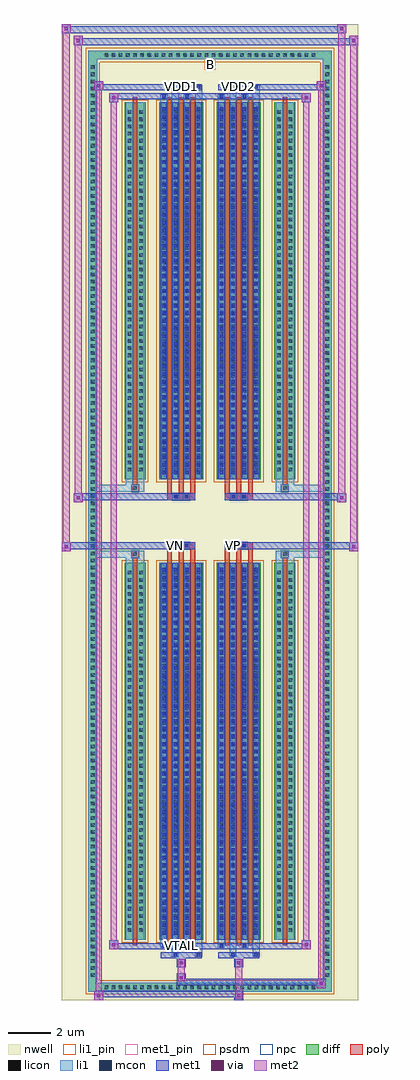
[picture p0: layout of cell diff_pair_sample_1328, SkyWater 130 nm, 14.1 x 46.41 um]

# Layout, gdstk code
import gdstk
lib = gdstk.Library(unit=1e-6, precision=5e-09)
def R(c, l, rs):  # rectangles x0, y0, x1, y1
    for r in rs: c.add(gdstk.rectangle(r[:2], r[2:], *l))
def A(c, l, x, y, w, h, nx, ny, dx, dy):  # array of equal rectangles
    R(c, l, [(x+i*dx, y+j*dy, x+i*dx+w, y+j*dy+h) for i in range(nx) for j in range(ny)])
def P(c, l, *ps):  # polygons
    for p in ps: c.add(gdstk.Polygon(p, *l))
nwell = (64, 20)
diff = (65, 20)
poly = (66, 20)
licon = (66, 44)
li1_pin = (67, 16)
li1 = (67, 20)
mcon = (67, 44)
met1_pin = (68, 16)
met1 = (68, 20)
via = (68, 44)
met2 = (69, 20)
psdm = (94, 20)
npc = (95, 20)

diff_pair_sample_1328 = lib.new_cell('diff_pair_sample_1328')
R(diff_pair_sample_1328, nwell, [(-7.05,-22.77,7.05,23.64), (-4.37,-20.96,-0.01,-0.8), (0.01,-20.96,4.37,-0.8), (-4.37,0.8,-0.01,20.96), (0.01,0.8,4.37,20.96)])
A(diff_pair_sample_1328, diff, -5.135, -22.37, 0.41, 0.41, 30, 2, 0.34, 44.33)
A(diff_pair_sample_1328, diff, -5.78, -21.795, 0.41, 0.41, 1, 128, 0, 0.34)
A(diff_pair_sample_1328, diff, 5.37, -21.795, 0.41, 0.41, 1, 128, 0, 0.34)
R(diff_pair_sample_1328, diff, [(-5.135,-22.37,5.135,-21.96), (-5.78,-21.795,-5.37,21.795), (5.37,-21.795,5.78,21.795), (-4.06,-19.915,-3.06,-1.985), (-2.42,-19.915,-0.32,-1.985), (0.32,-19.915,2.42,-1.985), (3.06,-19.915,4.06,-1.985), (-4.06,1.985,-3.06,19.915), (-2.42,1.985,-0.32,19.915), (0.32,1.985,2.42,19.915), (3.06,1.985,4.06,19.915), (-5.135,21.96,5.135,22.37)])
P(diff_pair_sample_1328, diff, [(5.78,22.37),(-5.78,22.37),(-5.78,-21.96),(-5.37,-21.96),(-5.37,21.96),(5.37,21.96),(5.37,-21.96),(-5.37,-21.96),(-5.78,-21.96),(-5.78,-22.37),(5.78,-22.37)])
A(diff_pair_sample_1328, poly, -2.03, -20.165, 0.22, 18.43, 3, 2, 0.55, 21.9)
A(diff_pair_sample_1328, poly, 0.71, -20.165, 0.22, 18.43, 3, 2, 0.55, 21.9)
A(diff_pair_sample_1328, poly, -2.03, -1.735, 0.22, 0.405, 3, 2, 0.55, 3.065)
A(diff_pair_sample_1328, poly, 0.71, -1.735, 0.22, 0.405, 3, 2, 0.55, 3.065)
R(diff_pair_sample_1328, poly, [(-3.67,-20.165,-3.45,-1.735), (3.45,-20.165,3.67,-1.735), (-3.725,-1.735,-3.395,-1.405), (-3.725,-1.735,-3.395,-1.405), (3.395,-1.735,3.725,-1.405), (3.395,-1.735,3.725,-1.405), (-2.03,-1.33,-0.71,-1), (-1.785,-1.33,-1.455,-1), (-1.285,-1.33,-0.955,-1), (0.71,-1.33,2.03,-1), (0.955,-1.33,1.285,-1), (1.455,-1.33,1.785,-1), (-2.03,1,-0.71,1.33), (-1.785,1,-1.455,1.33), (-1.285,1,-0.955,1.33), (0.71,1,2.03,1.33), (0.955,1,1.285,1.33), (1.455,1,1.785,1.33), (-3.725,1.405,-3.395,1.735), (-3.725,1.405,-3.395,1.735), (3.395,1.405,3.725,1.735), (3.395,1.405,3.725,1.735), (-3.67,1.735,-3.45,20.165), (3.45,1.735,3.67,20.165)])
A(diff_pair_sample_1328, licon, -5.015, -22.25, 0.17, 0.17, 30, 2, 0.34, 44.33)
A(diff_pair_sample_1328, licon, -5.66, -21.675, 0.17, 0.17, 1, 128, 0, 0.34)
A(diff_pair_sample_1328, licon, 5.49, -21.675, 0.17, 0.17, 1, 128, 0, 0.34)
A(diff_pair_sample_1328, licon, -3.92, -19.535, 0.17, 0.17, 1, 51, 0, 0.34)
A(diff_pair_sample_1328, licon, -3.37, -19.535, 0.17, 0.17, 1, 51, 0, 0.34)
A(diff_pair_sample_1328, licon, -2.28, -19.535, 0.17, 0.17, 4, 51, 0.55, 0.34)
A(diff_pair_sample_1328, licon, 0.46, -19.535, 0.17, 0.17, 4, 51, 0.55, 0.34)
A(diff_pair_sample_1328, licon, 3.2, -19.535, 0.17, 0.17, 1, 51, 0, 0.34)
A(diff_pair_sample_1328, licon, 3.75, -19.535, 0.17, 0.17, 1, 51, 0, 0.34)
A(diff_pair_sample_1328, licon, -3.92, 2.365, 0.17, 0.17, 1, 51, 0, 0.34)
A(diff_pair_sample_1328, licon, -3.37, 2.365, 0.17, 0.17, 1, 51, 0, 0.34)
A(diff_pair_sample_1328, licon, -2.28, 2.365, 0.17, 0.17, 4, 51, 0.55, 0.34)
A(diff_pair_sample_1328, licon, 0.46, 2.365, 0.17, 0.17, 4, 51, 0.55, 0.34)
A(diff_pair_sample_1328, licon, 3.2, 2.365, 0.17, 0.17, 1, 51, 0, 0.34)
A(diff_pair_sample_1328, licon, 3.75, 2.365, 0.17, 0.17, 1, 51, 0, 0.34)
R(diff_pair_sample_1328, licon, [(-3.645,-1.655,-3.475,-1.485), (3.475,-1.655,3.645,-1.485), (-1.705,-1.25,-1.535,-1.08), (-1.205,-1.25,-1.035,-1.08), (1.035,-1.25,1.205,-1.08), (1.535,-1.25,1.705,-1.08), (-1.705,1.08,-1.535,1.25), (-1.205,1.08,-1.035,1.25), (1.035,1.08,1.205,1.25), (1.535,1.08,1.705,1.25), (-3.645,1.485,-3.475,1.655), (3.475,1.485,3.645,1.655)])
R(diff_pair_sample_1328, li1_pin, [(-0.25,21.46,0.25,21.96)])
A(diff_pair_sample_1328, li1, -5.095, -22.33, 0.33, 0.33, 30, 2, 0.34, 44.33)
A(diff_pair_sample_1328, li1, -5.74, -21.755, 0.33, 0.33, 1, 128, 0, 0.34)
A(diff_pair_sample_1328, li1, 5.41, -21.755, 0.33, 0.33, 1, 128, 0, 0.34)
A(diff_pair_sample_1328, li1, -2.36, -19.915, 0.33, 17.93, 4, 2, 0.55, 21.9)
A(diff_pair_sample_1328, li1, 0.38, -19.915, 0.33, 17.93, 4, 2, 0.55, 21.9)
A(diff_pair_sample_1328, li1, -2.28, -19.675, 0.17, 0.17, 4, 49, 0.55, 0.36)
A(diff_pair_sample_1328, li1, -2.28, -19.675, 0.17, 17.45, 4, 2, 0.55, 21.9)
A(diff_pair_sample_1328, li1, 0.46, -19.675, 0.17, 0.17, 4, 49, 0.55, 0.36)
A(diff_pair_sample_1328, li1, 0.46, -19.675, 0.17, 17.45, 4, 2, 0.55, 21.9)
A(diff_pair_sample_1328, li1, -4, -19.615, 0.33, 0.33, 1, 51, 0, 0.34)
A(diff_pair_sample_1328, li1, -3.45, -19.615, 0.33, 0.33, 1, 51, 0, 0.34)
A(diff_pair_sample_1328, li1, -2.36, -19.615, 0.33, 0.33, 4, 51, 0.55, 0.34)
A(diff_pair_sample_1328, li1, 0.38, -19.615, 0.33, 0.33, 4, 51, 0.55, 0.34)
A(diff_pair_sample_1328, li1, 3.12, -19.615, 0.33, 0.33, 1, 51, 0, 0.34)
A(diff_pair_sample_1328, li1, 3.67, -19.615, 0.33, 0.33, 1, 51, 0, 0.34)
A(diff_pair_sample_1328, li1, -2.28, 2.225, 0.17, 0.17, 4, 49, 0.55, 0.36)
A(diff_pair_sample_1328, li1, 0.46, 2.225, 0.17, 0.17, 4, 49, 0.55, 0.36)
A(diff_pair_sample_1328, li1, -4, 2.285, 0.33, 0.33, 1, 51, 0, 0.34)
A(diff_pair_sample_1328, li1, -3.45, 2.285, 0.33, 0.33, 1, 51, 0, 0.34)
A(diff_pair_sample_1328, li1, -2.36, 2.285, 0.33, 0.33, 4, 51, 0.55, 0.34)
A(diff_pair_sample_1328, li1, 0.38, 2.285, 0.33, 0.33, 4, 51, 0.55, 0.34)
A(diff_pair_sample_1328, li1, 3.12, 2.285, 0.33, 0.33, 1, 51, 0, 0.34)
A(diff_pair_sample_1328, li1, 3.67, 2.285, 0.33, 0.33, 1, 51, 0, 0.34)
R(diff_pair_sample_1328, li1, [(-5.78,-22.37,-5.37,-21.96), (-5.78,-22.37,-5.37,-21.96), (-5.37,-22.37,5.37,-21.96), (5.37,-22.37,5.78,-21.96), (5.37,-22.37,5.78,-21.96), (-5.78,-21.96,-5.37,21.96), (5.37,-21.96,5.78,21.96), (-1.81,-20.72,-1.48,-19.915), (-1.73,-20.72,-1.56,-20.55), (-0.71,-20.72,-0.38,-19.915), (-0.63,-20.72,-0.46,-20.55), (0.93,-20.72,1.26,-19.915), (1.01,-20.72,1.18,-20.55), (2.03,-20.72,2.36,-19.915), (2.11,-20.72,2.28,-20.55), (-2.36,-20.29,-2.03,-19.915), (-2.28,-20.29,-2.11,-20.12), (-1.26,-20.29,-0.93,-19.915), (-1.18,-20.29,-1.01,-20.12), (0.38,-20.29,0.71,-19.915), (0.46,-20.29,0.63,-20.12), (1.48,-20.29,1.81,-19.915), (1.56,-20.29,1.73,-20.12), (-4,-19.915,-3.67,-1.985), (-3.45,-19.915,-3.12,-1.985), (3.12,-19.915,3.45,-1.985), (3.67,-19.915,4,-1.985), (-4,-1.985,-3.67,-1.405), (-3.45,-1.985,-3.12,-1.405), (3.12,-1.985,3.45,-1.405), (3.67,-1.985,4,-1.405), (-5.78,-1.735,-3.725,-1.405), (-4,-1.735,-3.725,-1.405), (-3.725,-1.735,-3.395,-1.405), (-3.395,-1.735,-3.12,-1.405), (3.12,-1.735,3.395,-1.405), (3.395,-1.735,3.725,-1.405), (3.395,-1.735,5.78,-1.405), (3.725,-1.735,4,-1.405), (-1.785,-1.33,-1.455,-1), (-1.285,-1.33,-0.955,-1), (0.955,-1.33,1.285,-1), (1.455,-1.33,1.785,-1), (-1.785,1,-1.455,1.33), (-1.285,1,-0.955,1.33), (0.955,1,1.285,1.33), (1.455,1,1.785,1.33), (-5.78,1.405,-3.725,1.735), (-4,1.405,-3.725,1.735), (-4,1.405,-3.67,1.985), (-3.725,1.405,-3.395,1.735), (-3.45,1.405,-3.12,1.985), (-3.395,1.405,-3.12,1.735), (3.12,1.405,3.395,1.735), (3.12,1.405,3.45,1.985), (3.395,1.405,3.725,1.735), (3.395,1.405,5.78,1.735), (3.67,1.405,4,1.985), (3.725,1.405,4,1.735), (-4,1.985,-3.67,19.915), (-3.45,1.985,-3.12,19.915), (3.12,1.985,3.45,19.915), (3.67,1.985,4,19.915), (-2.36,19.915,-2.03,20.29), (-1.81,19.915,-1.48,20.72), (-1.26,19.915,-0.93,20.29), (-0.71,19.915,-0.38,20.72), (0.38,19.915,0.71,20.29), (0.93,19.915,1.26,20.72), (1.48,19.915,1.81,20.29), (2.03,19.915,2.36,20.72), (-2.28,20.12,-2.11,20.29), (-1.18,20.12,-1.01,20.29), (0.46,20.12,0.63,20.29), (1.56,20.12,1.73,20.29), (-1.73,20.55,-1.56,20.72), (-0.63,20.55,-0.46,20.72), (1.01,20.55,1.18,20.72), (2.11,20.55,2.28,20.72), (-5.78,21.96,-5.37,22.37), (-5.78,21.96,-5.37,22.37), (-5.37,21.96,5.37,22.37), (5.37,21.96,5.78,22.37), (5.37,21.96,5.78,22.37)])
A(diff_pair_sample_1328, mcon, -2.28, -19.675, 0.17, 0.17, 4, 49, 0.55, 0.36)
A(diff_pair_sample_1328, mcon, 0.46, -19.675, 0.17, 0.17, 4, 49, 0.55, 0.36)
A(diff_pair_sample_1328, mcon, -2.28, 2.225, 0.17, 0.17, 4, 49, 0.55, 0.36)
A(diff_pair_sample_1328, mcon, 0.46, 2.225, 0.17, 0.17, 4, 49, 0.55, 0.36)
R(diff_pair_sample_1328, mcon, [(-1.73,-20.72,-1.56,-20.55), (-0.63,-20.72,-0.46,-20.55), (1.01,-20.72,1.18,-20.55), (2.11,-20.72,2.28,-20.55), (-2.28,-20.29,-2.11,-20.12), (-1.18,-20.29,-1.01,-20.12), (0.46,-20.29,0.63,-20.12), (1.56,-20.29,1.73,-20.12), (-1.705,-1.25,-1.535,-1.08), (-1.205,-1.25,-1.035,-1.08), (1.035,-1.25,1.205,-1.08), (1.535,-1.25,1.705,-1.08), (-1.705,1.08,-1.535,1.25), (-1.205,1.08,-1.035,1.25), (1.035,1.08,1.205,1.25), (1.535,1.08,1.705,1.25), (-2.28,20.12,-2.11,20.29), (-1.18,20.12,-1.01,20.29), (0.46,20.12,0.63,20.29), (1.56,20.12,1.73,20.29), (-1.73,20.55,-1.56,20.72), (-0.63,20.55,-0.46,20.72), (1.01,20.55,1.18,20.72), (2.11,20.55,2.28,20.72)])
R(diff_pair_sample_1328, met1_pin, [(-1.505,-20.33,-1.235,-20.06), (-1.755,-1.29,-1.485,-1.02), (0.985,-1.29,1.255,-1.02), (-1.505,20.51,-1.235,20.78), (1.235,20.51,1.505,20.78)])
A(diff_pair_sample_1328, met1, -2.34, -19.915, 0.29, 17.93, 4, 2, 0.55, 21.9)
A(diff_pair_sample_1328, met1, 0.4, -19.915, 0.29, 17.93, 4, 2, 0.55, 21.9)
A(diff_pair_sample_1328, met1, -2.34, -19.735, 0.29, 0.29, 4, 49, 0.55, 0.36)
A(diff_pair_sample_1328, met1, 0.4, -19.735, 0.29, 0.29, 4, 49, 0.55, 0.36)
A(diff_pair_sample_1328, met1, -2.34, 2.165, 0.29, 0.29, 4, 49, 0.55, 0.36)
A(diff_pair_sample_1328, met1, 0.4, 2.165, 0.29, 0.29, 4, 49, 0.55, 0.36)
R(diff_pair_sample_1328, met1, [(-5.51,-22.77,-5.08,-22.34), (1.155,-22.77,1.585,-22.34), (-5.51,-22.63,1.585,-22.34), (5.08,-22.2,5.51,-21.77), (-1.585,-22.06,5.51,-21.77), (-1.585,-21.92,-1.155,-21.49), (-1.585,-21.21,-1.155,-20.78), (1.155,-21.21,1.585,-20.78), (-2.34,-20.78,-0.4,-20.49), (-1.79,-20.78,-1.5,-20.49), (-0.69,-20.78,-0.4,-20.49), (0.4,-20.78,2.34,-20.49), (0.95,-20.78,1.24,-20.49), (2.05,-20.78,2.34,-20.49), (-4.8,-20.35,-4.37,-19.92), (-4.8,-20.35,-2.34,-20.06), (-2.34,-20.35,-2.05,-20.06), (-2.34,-20.35,-0.4,-20.06), (-1.24,-20.35,-0.95,-20.06), (-0.4,-20.35,0.4,-20.06), (0.4,-20.35,0.69,-20.06), (0.4,-20.35,2.34,-20.06), (1.5,-20.35,1.79,-20.06), (2.34,-20.35,4.8,-20.06), (4.37,-20.35,4.8,-19.92), (-7.05,-1.43,-6.62,-1), (6.62,-1.43,7.05,-1), (-7.05,-1.33,-0.71,-1), (-2.03,-1.33,-0.71,-1), (0.71,-1.33,2.03,-1), (0.71,-1.33,7.05,-1), (-1.765,-1.31,-1.475,-1.02), (-1.265,-1.31,-0.975,-1.02), (0.975,-1.31,1.265,-1.02), (1.475,-1.31,1.765,-1.02), (-6.48,0.9,-6.05,1.33), (6.05,0.9,6.48,1.33), (-6.48,1,-2.03,1.33), (-2.03,1,-0.71,1.33), (0.71,1,2.03,1.33), (2.03,1,6.48,1.33), (-1.765,1.02,-1.475,1.31), (-1.265,1.02,-0.975,1.31), (0.975,1.02,1.265,1.31), (1.475,1.02,1.765,1.31), (-4.8,19.92,-4.37,20.35), (4.37,19.92,4.8,20.35), (-4.8,20.06,-2.34,20.35), (-2.34,20.06,-2.05,20.35), (-2.34,20.06,-0.4,20.35), (-1.24,20.06,-0.95,20.35), (-0.4,20.06,0.4,20.35), (0.4,20.06,0.69,20.35), (0.4,20.06,2.34,20.35), (1.5,20.06,1.79,20.35), (2.34,20.06,4.8,20.35), (-5.51,20.49,-5.08,20.92), (-5.51,20.49,-2.34,20.78), (-2.34,20.49,-0.4,20.78), (-1.79,20.49,-1.5,20.78), (-0.69,20.49,-0.4,20.78), (0.4,20.49,2.34,20.78), (0.95,20.49,1.24,20.78), (2.05,20.49,2.34,20.78), (2.34,20.49,5.51,20.78), (5.08,20.49,5.51,20.92), (-6.48,22.64,-6.05,23.07), (-6.48,22.64,-4.37,22.97), (-4.37,22.64,4.37,22.97), (4.37,22.64,7.05,22.97), (6.62,22.64,7.05,23.07), (-7.05,23.21,-6.62,23.64), (-7.05,23.21,-4.37,23.54), (-4.37,23.21,4.37,23.54), (4.37,23.21,6.48,23.54), (6.05,23.21,6.48,23.64)])
R(diff_pair_sample_1328, via, [(-5.37,-22.63,-5.22,-22.48), (1.295,-22.63,1.445,-22.48), (5.22,-22.06,5.37,-21.91), (-1.445,-21.78,-1.295,-21.63), (-1.445,-21.07,-1.295,-20.92), (1.295,-21.07,1.445,-20.92), (-4.66,-20.21,-4.51,-20.06), (4.51,-20.21,4.66,-20.06), (-6.91,-1.29,-6.76,-1.14), (6.76,-1.29,6.91,-1.14), (-6.34,1.04,-6.19,1.19), (6.19,1.04,6.34,1.19), (-4.66,20.06,-4.51,20.21), (4.51,20.06,4.66,20.21), (-5.37,20.63,-5.22,20.78), (5.22,20.63,5.37,20.78), (-6.34,22.78,-6.19,22.93), (6.76,22.78,6.91,22.93), (-6.91,23.35,-6.76,23.5), (6.19,23.35,6.34,23.5)])
R(diff_pair_sample_1328, met2, [(-5.51,-22.77,-5.08,-22.34), (-5.44,-22.77,-5.15,20.92), (-5.15,-22.77,-5.08,-22.34), (-5.46,-22.72,-5.13,-22.39), (1.205,-22.72,1.535,-22.39), (1.205,-22.39,1.535,-21.16), (5.08,-22.2,5.51,-21.77), (5.15,-22.2,5.44,20.92), (5.44,-22.2,5.51,-21.77), (5.13,-22.15,5.46,-21.82), (-1.535,-21.87,-1.205,-21.54), (-1.535,-21.54,-1.205,-21.16), (-1.535,-21.16,-1.205,-20.83), (1.205,-21.16,1.535,-20.83), (-4.8,-20.35,-4.37,-19.92), (-4.73,-20.35,-4.44,20.35), (-4.44,-20.35,-4.37,-19.92), (4.37,-20.35,4.8,-19.92), (4.44,-20.35,4.73,20.35), (4.73,-20.35,4.8,-19.92), (-4.75,-20.3,-4.42,-19.97), (4.42,-20.3,4.75,-19.97), (-7.05,-1.43,-6.62,-1), (-7,-1.43,-6.67,23.64), (-6.67,-1.43,-6.62,-1), (6.62,-1.43,7.05,-1), (6.67,-1.43,7,23.07), (7,-1.43,7.05,-1), (-7,-1.38,-6.67,-1.05), (6.67,-1.38,7,-1.05), (-6.48,0.9,-6.05,1.33), (-6.43,0.9,-6.1,23.07), (-6.1,0.9,-6.05,1.33), (6.05,0.9,6.48,1.33), (6.1,0.9,6.43,23.64), (6.43,0.9,6.48,1.33), (-6.43,0.95,-6.1,1.28), (6.1,0.95,6.43,1.28), (-4.8,19.92,-4.37,20.35), (-4.44,19.92,-4.37,20.35), (4.37,19.92,4.8,20.35), (4.73,19.92,4.8,20.35), (-4.75,19.97,-4.42,20.3), (4.42,19.97,4.75,20.3), (-5.51,20.49,-5.08,20.92), (-5.15,20.49,-5.08,20.92), (5.08,20.49,5.51,20.92), (5.44,20.49,5.51,20.92), (-5.46,20.54,-5.13,20.87), (5.13,20.54,5.46,20.87), (-6.48,22.64,-6.05,23.07), (-6.1,22.64,-6.05,23.07), (6.62,22.64,7.05,23.07), (7,22.64,7.05,23.07), (-6.43,22.69,-6.1,23.02), (6.67,22.69,7,23.02), (-7.05,23.21,-6.62,23.64), (-6.67,23.21,-6.62,23.64), (6.05,23.21,6.48,23.64), (6.43,23.21,6.48,23.64), (-7,23.26,-6.67,23.59), (6.1,23.26,6.43,23.59)])
R(diff_pair_sample_1328, psdm, [(-4.19,-20.045,-2.93,-1.855), (-2.55,-20.045,-0.19,-1.855), (0.19,-20.045,2.55,-1.855), (2.93,-20.045,4.19,-1.855), (-4.19,1.855,-2.93,20.045), (-2.55,1.855,-0.19,20.045), (0.19,1.855,2.55,20.045), (2.93,1.855,4.19,20.045)])
P(diff_pair_sample_1328, psdm, [(5.91,22.5),(-5.91,22.5),(-5.91,-21.83),(-5.24,-21.83),(-5.24,21.83),(5.24,21.83),(5.24,-21.83),(-5.24,-21.83),(-5.91,-21.83),(-5.91,-22.5),(5.91,-22.5)])
R(diff_pair_sample_1328, npc, [(-3.745,-1.755,-3.375,-1.385), (3.375,-1.755,3.745,-1.385), (-1.805,-1.35,-1.435,-0.98), (-1.805,-1.35,-0.935,-0.98), (-1.805,-1.35,-0.935,-0.98), (-1.305,-1.35,-0.935,-0.98), (0.935,-1.35,1.305,-0.98), (0.935,-1.35,1.805,-0.98), (0.935,-1.35,1.805,-0.98), (1.435,-1.35,1.805,-0.98), (-1.805,0.98,-1.435,1.35), (-1.805,0.98,-0.935,1.35), (-1.805,0.98,-0.935,1.35), (-1.305,0.98,-0.935,1.35), (0.935,0.98,1.305,1.35), (0.935,0.98,1.805,1.35), (0.935,0.98,1.805,1.35), (1.435,0.98,1.805,1.35), (-3.745,1.385,-3.375,1.755), (3.375,1.385,3.745,1.755)])
diff_pair_sample_1328.add(gdstk.Label('VTAIL', (-1.37,-20.195), layer=68, texttype=5))
diff_pair_sample_1328.add(gdstk.Label('VN', (-1.62,-1.155), layer=68, texttype=5))
diff_pair_sample_1328.add(gdstk.Label('VP', (1.12,-1.155), layer=68, texttype=5))
diff_pair_sample_1328.add(gdstk.Label('B', (0,21.71), layer=67, texttype=5))
diff_pair_sample_1328.add(gdstk.Label('VDD2', (1.37,20.645), layer=68, texttype=5))
diff_pair_sample_1328.add(gdstk.Label('VDD1', (-1.37,20.645), layer=68, texttype=5))

lib.write_gds('diff_pair_sample_1328.gds')
